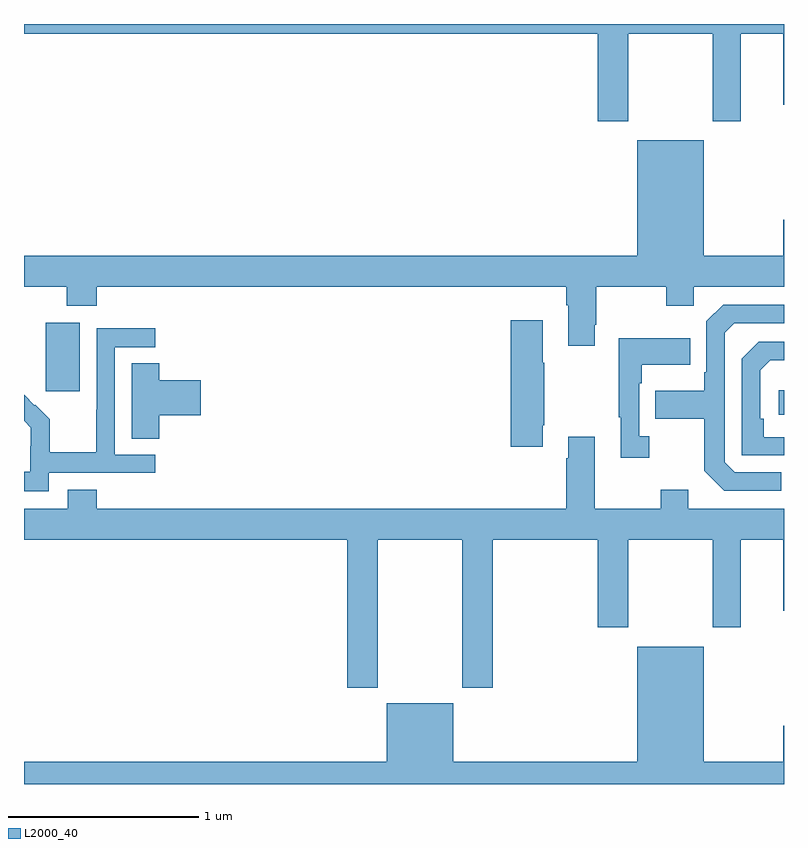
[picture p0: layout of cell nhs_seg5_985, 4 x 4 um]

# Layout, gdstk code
import gdstk
lib = gdstk.Library(unit=1e-6, precision=1e-09)
def R(c, l, rs):  # rectangles x0, y0, x1, y1
    for r in rs: c.add(gdstk.rectangle(r[:2], r[2:], *l))
def P(c, l, *ps):  # polygons
    for p in ps: c.add(gdstk.Polygon(p, *l))
L2000_40 = (2000, 40)

nhs_seg5_985 = lib.new_cell('nhs_seg5_985')
R(nhs_seg5_985, L2000_40, [(176.973,866.742,177,866.872), (173.114,866.865,173.293,867.226)])
P(nhs_seg5_985, L2000_40, [(176.181,868.748),(176.626,868.748),(176.626,868.287),(176.773,868.287),(176.773,868.748),(176.996,868.748),(176.996,868.374),(177,868.374),(177,868.799),(173,868.799),(173,868.748),(176.021,868.748),(176.021,868.287),(176.181,868.287)],
  [(176.005,867.217),(176.013,867.217),(176.013,867.416),(176.38,867.416),(176.38,867.317),(176.526,867.317),(176.526,867.416),(177,867.416),(177,867.769),(176.996,867.769),(176.996,867.58),(176.578,867.58),(176.578,868.186),(176.228,868.186),(176.228,867.58),(173,867.58),(173,867.416),(173.224,867.416),(173.224,867.317),(173.384,867.317),(173.384,867.416),(175.853,867.416),(175.853,867.32),(175.865,867.32),(175.865,867.105),(176.005,867.105)],
  [(176.986,866.439),(176.742,866.439),(176.688,866.493),(176.688,867.174),(176.739,867.225),(177,867.225),(177,867.321),(176.679,867.321),(176.592,867.234),(176.592,866.965),(176.58,866.965),(176.58,866.869),(176.323,866.869),(176.323,866.722),(176.58,866.722),(176.58,866.449),(176.685,866.343),(176.986,866.343)],
  [(175.729,866.686),(175.737,866.686),(175.737,867.017),(175.729,867.017),(175.729,867.241),(175.562,867.241),(175.562,866.574),(175.729,866.574)],
  [(173.13,866.436),(173.692,866.436),(173.692,866.532),(173.478,866.532),(173.478,867.099),(173.692,867.099),(173.692,867.198),(173.382,867.198),(173.382,866.768),(173.38,866.768),(173.38,866.545),(173.135,866.545),(173.135,866.719),(173.058,866.796),(173.055,866.793),(173,866.849),(173,866.71),(173.036,866.674),(173.036,866.577),(173.034,866.577),(173.034,866.443),(173,866.443),(173,866.339),(173.13,866.339)],
  [(176.29,866.63),(176.238,866.63),(176.238,866.909),(176.251,866.909),(176.251,867.005),(176.507,867.005),(176.507,867.145),(176.13,867.145),(176.13,866.729),(176.141,866.729),(176.141,866.517),(176.29,866.517)],
  [(177,866.625),(176.894,866.625),(176.894,866.722),(176.874,866.722),(176.874,866.976),(176.927,867.029),(177,867.029),(177,867.126),(176.868,867.126),(176.778,867.036),(176.778,866.529),(177,866.529)],
  [(173.711,866.741),(173.929,866.741),(173.929,866.924),(173.711,866.924),(173.711,867.014),(173.567,867.014),(173.567,866.617),(173.711,866.617)],
  [(174.861,866.084),(175.306,866.084),(175.306,865.305),(175.466,865.305),(175.466,866.084),(176.021,866.084),(176.021,865.623),(176.181,865.623),(176.181,866.084),(176.626,866.084),(176.626,865.623),(176.773,865.623),(176.773,866.084),(176.996,866.084),(176.996,865.71),(177,865.71),(177,866.248),(176.497,866.248),(176.497,866.347),(176.35,866.347),(176.35,866.248),(176.005,866.248),(176.005,866.626),(175.865,866.626),(175.865,866.513),(175.853,866.513),(175.853,866.248),(173.384,866.248),(173.384,866.347),(173.231,866.347),(173.231,866.248),(173,866.248),(173,866.084),(174.701,866.084),(174.701,865.305),(174.861,865.305)],
  [(173,864.799),(177,864.799),(177,865.105),(176.996,865.105),(176.996,864.916),(176.578,864.916),(176.578,865.522),(176.228,865.522),(176.228,864.916),(175.258,864.916),(175.258,865.225),(174.908,865.225),(174.908,864.916),(173,864.916)])

lib.write_gds('nhs_seg5_985.gds')
